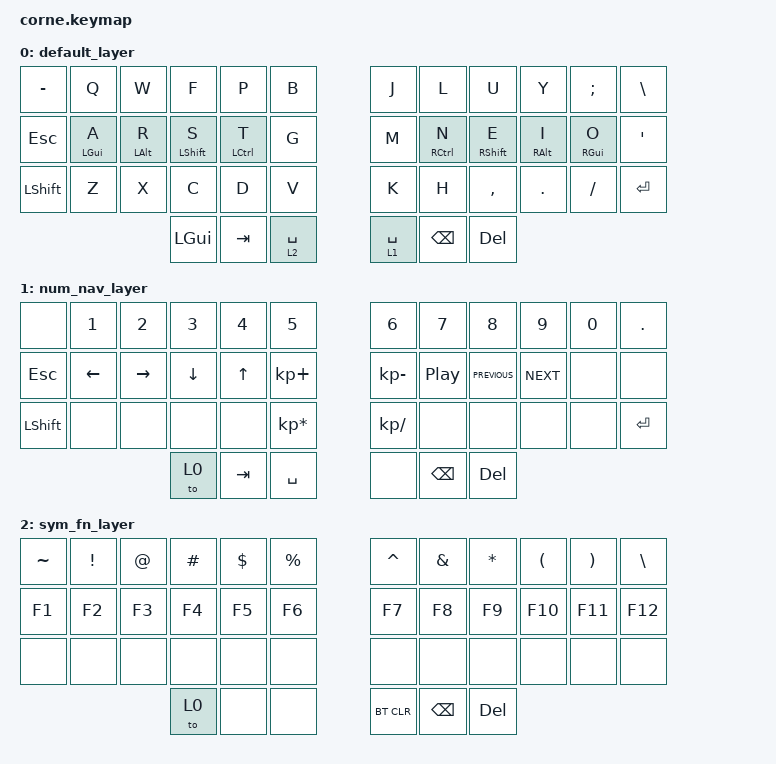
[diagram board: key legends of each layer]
/*
 * Copyright (c) 2020 The ZMK Contributors
 *
 * SPDX-License-Identifier: MIT
 */

#include <behaviors.dtsi>
#include <dt-bindings/zmk/keys.h>
#include <dt-bindings/zmk/bt.h>

&mt {
    tapping-term-ms = <200>;
};
/ {
    keymap {
        compatible = "zmk,keymap";

        default_layer {
            bindings = <
&kp MINUS       &kp Q           &kp W           &kp F             &kp P               &kp B          &kp J        &kp L          &kp U              &kp Y            &kp SEMICOLON    &kp BACKSLASH
&kp ESC         &mt LEFT_GUI A  &mt LEFT_ALT R  &mt LEFT_SHIFT S  &mt LEFT_CONTROL T  &kp G          &kp M        &mt RCTRL N    &mt RIGHT_SHIFT E  &mt RIGHT_ALT I  &mt RIGHT_GUI O  &kp SQT
&kp LEFT_SHIFT  &kp Z           &kp X           &kp C             &kp D               &kp V          &kp K        &kp H          &kp COMMA          &kp DOT          &kp FSLH         &kp ENTER
                                                &kp LEFT_GUI      &kp TAB             &lt 2 SPACE    &lt 1 SPACE  &kp BACKSPACE  &kp DELETE
            >;
        };

        num_nav_layer {
            bindings = <
&none           &kp NUMBER_1    &kp NUMBER_2     &kp NUMBER_3    &kp NUMBER_4  &kp NUMBER_5       &kp NUMBER_6   &kp NUMBER_7      &kp NUMBER_8    &kp NUMBER_9  &kp NUMBER_0  &kp PERIOD
&kp ESC         &kp LEFT_ARROW  &kp RIGHT_ARROW  &kp DOWN_ARROW  &kp UP_ARROW  &kp KP_PLUS        &kp KP_MINUS   &kp C_PLAY_PAUSE  &kp C_PREVIOUS  &kp C_NEXT    &none         &none
&kp LEFT_SHIFT  &none           &none            &none           &none         &kp KP_ASTERISK    &kp KP_DIVIDE  &none             &none           &none         &none         &kp ENTER
                                                 &to 0           &kp TAB       &kp SPACE          &none          &kp BACKSPACE     &kp DEL
            >;
        };

        sym_fn_layer {
            bindings = <
&kp TILDE  &kp EXCLAMATION  &kp AT_SIGN  &kp HASH  &kp DOLLAR  &kp PERCENT    &kp CARET  &kp AMPERSAND  &kp ASTERISK  &kp LEFT_PARENTHESIS  &kp RIGHT_PARENTHESIS  &kp BACKSLASH
&kp F1     &kp F2           &kp F3       &kp F4    &kp F5      &kp F6         &kp F7     &kp F8         &kp F9        &kp F10               &kp F11                &kp F12
&none      &none            &none        &none     &none       &none          &none      &none          &none         &none                 &none                  &none
                                         &to 0     &none       &none          &bt BT_CLR      &kp BACKSPACE  &kp DELETE
            >;
        };
    };
};
